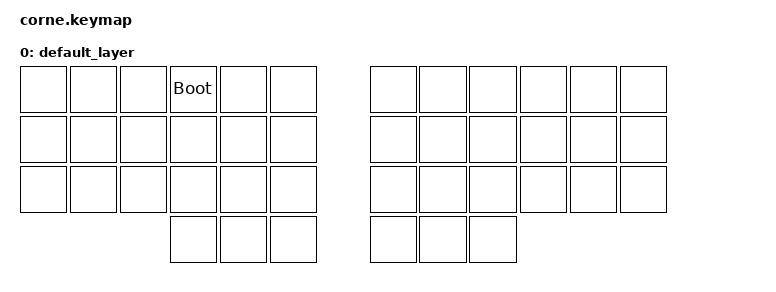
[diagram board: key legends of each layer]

/*
 * Copyright (c) 2020 The ZMK Contributors
 *
 * SPDX-License-Identifier: MIT
 */


/* THIS FILE WAS GENERATED!
 *
 * This file was generated automatically. You may or may not want to
 * edit it directly.
 */

#include <behaviors.dtsi>


/ {
    keymap {
        compatible = "zmk,keymap";


        default_layer {
            bindings = <
  &none   &none   &none  &bootloader   &none   &none           &none   &none   &none   &none   &none   &none
  &none   &none   &none        &none   &none   &none           &none   &none   &none   &none   &none   &none
  &none   &none   &none        &none   &none   &none           &none   &none   &none   &none   &none   &none
                               &none   &none   &none           &none   &none   &none
            >;
        };

    };
};
